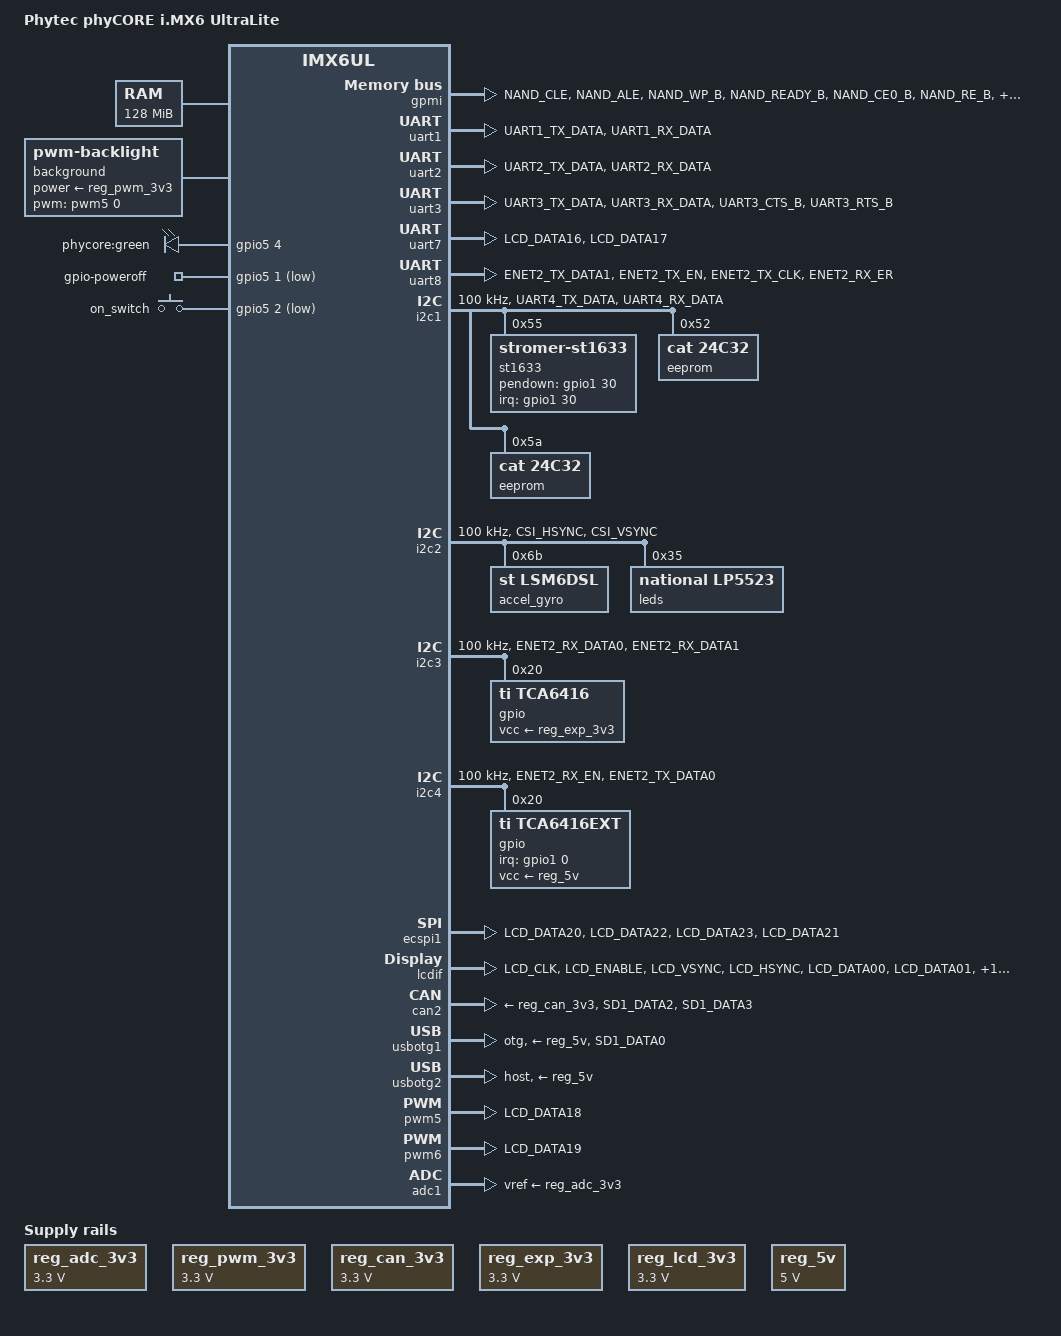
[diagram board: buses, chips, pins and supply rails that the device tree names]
/*
* Copyright (C) 2016 PHYTEC Messtechnik GmbH
* Author: Christian Hemp <c.hemp@phytec.de>
*
* This program is free software; you can redistribute it and/or modify
* it under the terms of the GNU General Public License version 2 as
* published by the Free Software Foundation.
*/

/dts-v1/;
#include "imx6ul.dtsi"

/ {
	model = "Phytec phyCORE i.MX6 UltraLite";
	compatible = "fsl,imx6ul";

	/* Set the minimum memory size here and
	   let the bootloader set the real size */
	memory {
		reg = <0x80000000 0x8000000>;
	};

	regulators {
		compatible = "simple-bus";
		#address-cells = <1>;
		#size-cells = <0>;

		reg_adc_3v3: regulator@1 {
			compatible = "regulator-fixed";
			reg = <1>;
			regulator-name = "adc-3v3";
			regulator-min-microvolt = <3300000>;
			regulator-max-microvolt = <3300000>;
			status = "okay";
		};

		reg_pwm_3v3: regulator@2 {
			compatible = "regulator-fixed";
			reg = <2>;
			regulator-name = "pwm-3v3";
			regulator-min-microvolt = <3300000>;
			regulator-max-microvolt = <3300000>;
			status = "okay";
		};

		reg_can_3v3: regulator@3 {
			compatible = "regulator-fixed";
			reg = <3>;
			regulator-name = "can-3v3";
			regulator-min-microvolt = <3300000>;
			regulator-max-microvolt = <3300000>;
			status = "okay";
		};

		reg_exp_3v3: regulator@4 {
			compatible = "regulator-fixed";
			reg = <4>;
			regulator-name = "exp-3v3";
			regulator-min-microvolt = <3300000>;
			regulator-max-microvolt = <3300000>;
			status = "okay";
		};

		reg_lcd_3v3: regulator@5 {
			compatible = "regulator-fixed";
			reg = <5>;
			regulator-name = "lcd-3v3";
			regulator-min-microvolt = <3300000>;
			regulator-max-microvolt = <3300000>;
			status = "okay";
		};

		reg_5v: regulator@6 {
			compatible = "regulator-fixed";
			reg = <6>;
			regulator-name = "5v";
			regulator-min-microvolt = <5000000>;
			regulator-max-microvolt = <5000000>;
			status = "okay";
		};
	};

	/* LCD background */
	background: background {
		compatible = "pwm-backlight";
		/* PWM period is vriten in nanoseconds
		   10KHz is 100.000 nanoseconds */
		pwms = <&pwm5 0 100000>;
		/* Brightnes is equal to PWM duty cycle */
		brightness-levels = < 0  1  2  3  4  5  6  7  8  9
							 10 11 12 13 14 15 16 17 18 19
							 20 21 22 23 24 25 26 27 28 29
							 30 31 32 33 34 35 36 37 38 39
							 40 41 42 43 44 45 46 47 48 49
							 50 51 52 53 54 55 56 57 58 59
							 60 61 62 63 64 65 66 67 68 69
							 70 71 72 73 74 75 76 77 78 79
							 80 81 82 83 84 85 86 87 88 89
							 90 91 92 93 94 95 96 97 98 99
							 100>;
		default-brightness-level = <100>;
		power-supply = <&reg_pwm_3v3>;
		status = "okay";
	};

	/* Frontbase */
	frontbase: frontbase {
		pwms = <&pwm6 0 5000000>;
		pwm-names = "frontbase";
		status = "okay";
	};

	/* Blinking led */
	gpio_leds_som: somleds {
		pinctrl-names = "default";
		pinctrl-0 = <&pinctrl_gpioleds_som>;
		compatible = "gpio-leds";
		status = "okay";

		som_green {
			label = "phycore:green";
			gpios = <&gpio5 4 GPIO_ACTIVE_HIGH>;
			linux,default-trigger = "heartbeat";
		};
	};

	/* Power lock pin */
	gpio-poweroff {
		compatible = "gpio-poweroff";
		gpios = <&gpio5 1 GPIO_ACTIVE_LOW>;
	};


	/* On Switch (On/Menu) */
	gpio-keys {
		compatible = "gpio-keys";
		pinctrl-names = "default";
		pinctrl-0 = <&pinctrl_gpio_keys>;

		on_switch {
			   label = "on_switch";
			   gpios = <&gpio5 2 GPIO_ACTIVE_LOW>;
			   linux,code = <KEY_BACK>;
			   wakeup-source;
		};
	};
};

/* NAND */
&gpmi {
	pinctrl-names = "default";
	pinctrl-0 = <&pinctrl_gpmi_nand>;
	nand-on-flash-bbt;
	status = "okay";
};

/* Debug port */
&uart1 {
	pinctrl-names = "default";
	pinctrl-0 = <&pinctrl_uart1>;
	status = "okay";
};

/* Button ring */
&uart2 {
	pinctrl-names = "default";
	pinctrl-0 = <&pinctrl_uart2>;
	status = "okay";
};

/* BLE */
&uart3 {
	pinctrl-names = "default";
	pinctrl-0 = <&pinctrl_uart3>;
	fsl,uart-has-rtscts;
	fsl,dte-mode;
	status = "okay";
};

/* GNSS */
&uart7 {
	pinctrl-names = "default";
	pinctrl-0 = <&pinctrl_uart7>;
	status = "okay";
};

/* GSM */
&uart8 {
	compatible = "fsl,imx6ul-mod-uart";
	pinctrl-names = "default", "gpio", "uart";
	pinctrl-0 = <&pinctrl_uart8_default>;
	pinctrl-1 = <&pinctrl_uart8_default>;
	pinctrl-2 = <&pinctrl_uart8_uart>;
	fsl,uart-has-rtscts;
	fsl,dte-mode;
	status = "okay";
};

/* Touch and SOM EEPROM */
&i2c1 {
	pinctrl-names = "default";
	pinctrl-0 = <&pinctrl_i2c1>;
	clock-frequency = <100000>;
	status = "okay";

	/* Touch controller */
	ili2116@41 {
		compatible = "stromer-ili2116";
		reg = <0x41>;
		pinctrl-names = "default";
		pinctrl-0 = <&pinctrl_ili2116>;
		interrupt-parent = <&gpio1>;
		interrupts = <30 IRQ_TYPE_EDGE_FALLING>;
		pendown-gpio = <&gpio1 30 GPIO_ACTIVE_HIGH>;
		wakeup-source;
		status = "disabled";
	};

	/* Touch controller */
	st1633@55 {
		compatible = "stromer-st1633";
		reg = <0x55>;
		pinctrl-names = "default";
		pinctrl-0 = <&pinctrl_st1633>;
		interrupt-parent = <&gpio1>;
		interrupts = <30 IRQ_TYPE_EDGE_FALLING>;
		pendown-gpio = <&gpio1 30 GPIO_ACTIVE_HIGH>;
		wakeup-source;
		status = "okay";
	};

	/* EEPROM memory address */
	eeprom: eeprom@52 {
		compatible = "cat,24c32";
		reg = <0x52>;
	};

	/* EEPROM ID page address */
	eeprom@5a {
		compatible = "cat,24c32";
		reg = <0x5a>;
	};
};

/* Sensors */
&i2c2 {
	pinctrl-names = "default";
	pinctrl-0 = <&pinctrl_i2c2>;
	clock-frequency = <100000>;
	status = "okay";

	/* LSM6DSL 3D accelerometer and 3D gyroscope */
	accel_gyro@6b {
		compatible = "st,lsm6dsl";
		reg = <0x6b>;
	};

	leds@35 {
		compatible = "national,lp5523";
		reg = <0x35>;
		clock-mode = /bits/ 8 <1>;

		chan0 {
			  chan-name = "rgb1_red";
			  led-cur = /bits/ 8 <0x14>;
			  max-cur = /bits/ 8 <0x96>;
		};

		chan1 {
			  chan-name = "rgb1_green";
			  led-cur = /bits/ 8 <0x14>;
			  max-cur = /bits/ 8 <0x64>;
		};

		chan2 {
			  chan-name = "rgb1_blue";
			  led-cur = /bits/ 8 <0x14>;
			  max-cur = /bits/ 8 <0x64>;
		};

		chan3 {
			  chan-name = "rgb2_red";
			  led-cur = /bits/ 8 <0x14>;
			  max-cur = /bits/ 8 <0x96>;
		};

		chan4 {
			  chan-name = "rgb2_green";
			  led-cur = /bits/ 8 <0x14>;
			  max-cur = /bits/ 8 <0x64>;
		};

		chan5 {
			  chan-name = "rgb2_blue";
			  led-cur = /bits/ 8 <0x14>;
			  max-cur = /bits/ 8 <0x64>;
		};
	};
};

/* AN multiplexer ctrl */
&i2c3 {
	pinctrl-names = "default";
	pinctrl-0 =<&pinctrl_i2c3>;
	clock-frequency = <100000>;
	status = "okay";

	/* TCA6416A GPIO Expander */
	gpio@20 {
		compatible = "ti,tca6416";
		vcc-supply = <&reg_exp_3v3>;
		gpio-controller;
		#gpio-cells = <2>;
		reg = <0x20>;
	};
};

/* Distribution board spare */
&i2c4 {
	pinctrl-names = "default";
	pinctrl-0 = <&pinctrl_i2c4>;
	clock-frequency = <100000>;
	status = "okay";

	/* TCA6416A GPIO Expander */
	gpio@20 {
		compatible = "ti,tca6416ext";
		vcc-supply = <&reg_5v>;
		gpio-controller;
		#gpio-cells = <2>;
		reg = <0x20>;
		interrupt-parent = <&gpio1>;
		interrupts = <0 IRQ_TYPE_EDGE_FALLING>;
	};
};

/* SPI - LCD */
&ecspi1 {
	pinctrl-names = "default";
	pinctrl-0 = <&pinctrl_ecspi1>;
	num-cs = <1>;
	cs-gpios = <0>;
	dmas = <&sdma 3 7 1>, <&sdma 4 7 2>;
	dma-names = "rx", "tx";
	status = "okay";
};

&lcdif {
	pinctrl-names = "default";
	pinctrl-0 = <&pinctrl_lcdif_dat>;
	lcd-supply = <&reg_lcd_3v3>;
	display = <&display>;
	status = "okay";

	display: display@di0 {
		bits-per-pixel = <16>;
		bus-width = <16>;
		status = "okay";

		display-timings {
			native-mode = <&timing0>;

			timing0: ST7789OMNI {
				clock-frequency = <8000000>;
				hactive = <240>;
				vactive = <320>;
				hback-porch = <10>;
				hsync-len = <10>;
				hfront-porch = <38>;
				vback-porch = <4>;
				vsync-len = <4>;
				vfront-porch = <8>;
				hsync-active = <0>;
				vsync-active = <0>;
				de-active = <1>;
				pixelclk-active = <1>;
			};
		};
	};
};

/* CAN */
&can2 {
	pinctrl-names = "default";
	pinctrl-0 = <&pinctrl_flexcan2>;
	xceiver-supply = <&reg_can_3v3>;
	status = "okay";
};

/* USB1 */
&usbotg1 {
	pinctrl-names = "default";
	pinctrl-0 = <&pinctrl_usb_otg1_id>;
	/* Only USB OTG ID pin is configured,
	   all other pins are preconfigured for USB */
	dr_mode = "otg";
	vbus-supply = <&reg_5v>;
	status = "okay";
};

/* USB2 */
&usbotg2 {
	dr_mode = "host";
	/* All pins are preconfigured for USB */
	disable-over-current;
	vbus-supply = <&reg_5v>;
	status = "okay";
};

/* Ethernet */
&fec1 {
	pinctrl-names = "default";
	pinctrl-0 = <&pinctrl_enet1>;
	phy-mode = "rmii";
	phy-handle = <&ethphy0>;
	status = "disabled";

	mdio: mdio {
		#address-cells = <1>;
		#size-cells = <0>;

		ethphy0: ethernet-phy@1 {
			reg = <1>;
			interrupt-parent = <&gpio1>;               /* SOM 1468.1 or newer */
			interrupts = <2 IRQ_TYPE_LEVEL_LOW>;       /* SOM 1468.1 or newer */
			/* interrupt-parent = <&gpio5>; */         /* SOM 1468.0 only */
			/* interrupts = <5 IRQ_TYPE_LEVEL_LOW>; */ /* SOM 1468.0 only */
		};
	};
};

/* LCD background */
&pwm5 {
	pinctrl-names = "default";
	pinctrl-0 = <&pinctrl_pwm5>;
	status = "okay";
};

/* Frontbase */
&pwm6 {
	pinctrl-names = "default";
	pinctrl-0 = <&pinctrl_pwm6>;
	status = "okay";
};

/* ADC */
&adc1 {
	pinctrl-names = "default";
	/* Driver utilizes ADC pins from hoggrp automatically */
	vref-supply = <&reg_adc_3v3>;
	num-channels = <16>;
	status = "okay";
};

&iomuxc {
	pinctrl-name = "default";
	pinctrl-0 = <&pinctrl_hog>;

	/* Input, Output and ADC GPIO */
	pinctrl_hog: hoggrp {
		fsl,pins = <
			MX6UL_PAD_GPIO1_IO00__GPIO1_IO00      0x1b0b1 /* Cadence */
			MX6UL_PAD_GPIO1_IO01__GPIO1_IO01      0x1b0b1 /* Horn */
			MX6UL_PAD_GPIO1_IO03__GPIO1_IO03      0x1b0b1 /* Break L */
			MX6UL_PAD_GPIO1_IO04__GPIO1_IO04      0x1b0b1 /* Break R */
			MX6UL_PAD_GPIO1_IO05__GPIO1_IO05      0xb0    /* AN_mux */
			MX6UL_PAD_GPIO1_IO09__GPIO1_IO09      0xb0    /* TMM */
			/* ! Different versions of the SOM caused different pin for CAN_SILENT */
			MX6UL_PAD_SNVS_TAMPER9__GPIO5_IO09    0x79    /* CAN_SILENT - SOM 1468.1 or newer */
			/* MX6UL_PAD_NAND_CE1_B__GPIO4_IO14   0x79 */ /* CAN_SILENT - SOM 1468.0 only */
			MX6UL_PAD_SD1_CLK__GPIO2_IO17         0x79    /* Brake Pull-Up/Pull-Down */
			MX6UL_PAD_SNVS_TAMPER3__GPIO5_IO03    0x79    /* Horn Pull-Up/Pull-Down */
			MX6UL_PAD_CSI_DATA03__GPIO4_IO24      0x79    /* BLE nSHUTD */
			MX6UL_PAD_CSI_DATA04__GPIO4_IO25      0x79    /* GNSS_PPS */
			MX6UL_PAD_CSI_DATA05__GPIO4_IO26      0x79    /* GNSS_FORCE_ON */
			MX6UL_PAD_CSI_DATA07__GPIO4_IO28      0x79    /* GNSS_RESET */
			/* ! Different versions of the SOM caused different pin for GSM_ON_N */
			MX6UL_PAD_SNVS_TAMPER5__GPIO5_IO05    0x79    /* GSM_ON_N - SOM 1468.1 or newer */
			/* MX6UL_PAD_GPIO1_IO02__GPIO1_IO02   0x79 */ /* GSM_ON_N - SOM 1468.0 only */
			MX6UL_PAD_SNVS_TAMPER0__GPIO5_IO00    0x79    /* GSM_RESET */
			MX6UL_PAD_UART1_CTS_B__GPIO1_IO18     0x79    /* MPIO1_DIR */
			MX6UL_PAD_UART1_RTS_B__GPIO1_IO19     0x79    /* MPIO2_DIR */
			MX6UL_PAD_SD1_CMD__GPIO2_IO16         0x1b0b1 /* MPIO1 */
			MX6UL_PAD_NAND_DQS__GPIO4_IO16        0x1b0b1 /* MPIO2 */
			MX6UL_PAD_UART2_RTS_B__GPIO1_IO23     0x79    /* FORCE_OTG1_ID */
			MX6UL_PAD_SD1_DATA1__GPIO2_IO19       0x79    /* I2C4_PU */
			MX6UL_PAD_CSI_PIXCLK__GPIO4_IO18      0x79    /* I2C4_ON */
			MX6UL_PAD_CSI_DATA02__GPIO4_IO23      0x79    /* TMMADC_RESET_N */
		 >;
	};
	/* On Switch (On/Menu) */
	pinctrl_gpio_keys: gpiokeysgrp {
		fsl,pins = <
			MX6UL_PAD_SNVS_TAMPER2__GPIO5_IO02	0x79
		>;
	};

	/* NAND */
	pinctrl_gpmi_nand: gpminandgrp {
		fsl,pins = <
			MX6UL_PAD_NAND_CLE__RAWNAND_CLE			0x0b0b1
			MX6UL_PAD_NAND_ALE__RAWNAND_ALE			0x0b0b1
			MX6UL_PAD_NAND_WP_B__RAWNAND_WP_B		0x0b0b1
			MX6UL_PAD_NAND_READY_B__RAWNAND_READY_B	0x0b000
			MX6UL_PAD_NAND_CE0_B__RAWNAND_CE0_B		0x0b0b1
			MX6UL_PAD_NAND_RE_B__RAWNAND_RE_B		0x0b0b1
			MX6UL_PAD_NAND_WE_B__RAWNAND_WE_B		0x0b0b1
			MX6UL_PAD_NAND_DATA00__RAWNAND_DATA00	0x0b0b1
			MX6UL_PAD_NAND_DATA01__RAWNAND_DATA01	0x0b0b1
			MX6UL_PAD_NAND_DATA02__RAWNAND_DATA02	0x0b0b1
			MX6UL_PAD_NAND_DATA03__RAWNAND_DATA03	0x0b0b1
			MX6UL_PAD_NAND_DATA04__RAWNAND_DATA04	0x0b0b1
			MX6UL_PAD_NAND_DATA05__RAWNAND_DATA05	0x0b0b1
			MX6UL_PAD_NAND_DATA06__RAWNAND_DATA06	0x0b0b1
			MX6UL_PAD_NAND_DATA07__RAWNAND_DATA07	0x0b0b1
		>;
	};

	/* Debug port */
	pinctrl_uart1: uart1grp {
		fsl,pins = <
			MX6UL_PAD_UART1_TX_DATA__UART1_DCE_TX	0x1b0b1
			MX6UL_PAD_UART1_RX_DATA__UART1_DCE_RX	0x1b0b1
		>;
	};

	/* Heart beat led */
	pinctrl_gpioleds_som: gpioledssomgrp {
		fsl,pins = <MX6UL_PAD_SNVS_TAMPER4__GPIO5_IO04	0x0b0b0>;
	};

	/* Button ring */
	pinctrl_uart2: uart2grp {
		fsl,pins = <
			MX6UL_PAD_UART2_TX_DATA__UART2_DCE_TX	0x1b0b1
			MX6UL_PAD_UART2_RX_DATA__UART2_DCE_RX	0x1b0b1
		>;
	};

	/* BLE */
	pinctrl_uart3: uart3grp {
		fsl,pins = <
			MX6UL_PAD_UART3_TX_DATA__UART3_DTE_RX	0x1b0b1
			MX6UL_PAD_UART3_RX_DATA__UART3_DTE_TX	0x1b0b1
			MX6UL_PAD_UART3_CTS_B__UART3_DTE_RTS	0x1b0b1
			MX6UL_PAD_UART3_RTS_B__UART3_DTE_CTS	0x1b0b1
		>;
	};

	/* GNSS */
	pinctrl_uart7: uart7grp {
		fsl,pins = <
			MX6UL_PAD_LCD_DATA16__UART7_DCE_TX	0x1b0b1
			MX6UL_PAD_LCD_DATA17__UART7_DCE_RX	0x1b0b1
		>;
	};

	/* GSM */
	pinctrl_uart8_default: uart8grp {
		fsl,pins = <
			MX6UL_PAD_ENET2_TX_DATA1__GPIO2_IO12	0x13000
			MX6UL_PAD_ENET2_TX_EN__GPIO2_IO13		0x13000
			MX6UL_PAD_ENET2_TX_CLK__GPIO2_IO14		0x13000
			MX6UL_PAD_ENET2_RX_ER__GPIO2_IO15		0x13000
		>;
	};

	pinctrl_uart8_uart: uart8uartgrp {
		fsl,pins = <
			MX6UL_PAD_ENET2_TX_DATA1__UART8_DTE_RX	0x1b0b1
			MX6UL_PAD_ENET2_TX_EN__UART8_DTE_TX		0x1b0b1
			MX6UL_PAD_ENET2_TX_CLK__UART8_DTE_RTS	0x1b0b1
			MX6UL_PAD_ENET2_RX_ER__UART8_DTE_CTS	0x1b0b1
		>;
	};

	/* TLV320 ADC */
	pinctrl_sai2: sai2grp {
		fsl,pins = <
			MX6UL_PAD_JTAG_TDI__SAI2_TX_BCLK	0x17088
			MX6UL_PAD_JTAG_TDO__SAI2_TX_SYNC	0x17088
			MX6UL_PAD_JTAG_TRST_B__SAI2_TX_DATA	0x11088
			MX6UL_PAD_JTAG_TCK__SAI2_RX_DATA	0x11088
			MX6UL_PAD_JTAG_TMS__SAI2_MCLK		0x17088
		>;
	};

	/* Touch and SOM EEPROM */
	pinctrl_ili2116: ili2116grp {
		/* Touch interrupt and reset */
		fsl,pins = <
			MX6UL_PAD_UART5_TX_DATA__GPIO1_IO30	0x10000
		>;
	};

	pinctrl_st1633: st1633grp {
		/* Touch interrupt and reset */
			fsl,pins = <
			MX6UL_PAD_UART5_TX_DATA__GPIO1_IO30	0x10000
		>;
	};

	pinctrl_i2c1: i2c1grp {
		fsl,pins = <
			MX6UL_PAD_UART4_TX_DATA__I2C1_SCL	0x4001b8b0
			MX6UL_PAD_UART4_RX_DATA__I2C1_SDA	0x4001b8b0
		>;
	};

	/* Sensors */
	pinctrl_i2c2: i2c2grp {
		fsl,pins = <
			MX6UL_PAD_CSI_HSYNC__I2C2_SCL	0x4001b8b0
			MX6UL_PAD_CSI_VSYNC__I2C2_SDA	0x4001b8b0
		>;
	};

	/* Distribution board spare */
	pinctrl_i2c3: i2c3grp {
		fsl,pins = <
			MX6UL_PAD_ENET2_RX_DATA0__I2C3_SCL	0x4001b8b0
			MX6UL_PAD_ENET2_RX_DATA1__I2C3_SDA	0x4001b8b0
		>;
	};

	/* AN multiplexer ctrl */
	pinctrl_i2c4: i2c4grp {
		fsl,pins = <
			MX6UL_PAD_ENET2_RX_EN__I2C4_SCL		0x4001b8b0
			MX6UL_PAD_ENET2_TX_DATA0__I2C4_SDA	0x4001b8b0
		>;
	};

	/* SPI - LCD spare */
	pinctrl_ecspi1: ecspi1grp {
		fsl,pins = <
			MX6UL_PAD_LCD_DATA20__ECSPI1_SCLK	0x1b0b1
			MX6UL_PAD_LCD_DATA22__ECSPI1_MOSI	0x1b0b1
			MX6UL_PAD_LCD_DATA23__ECSPI1_MISO	0x1b0b1
			//MX6UL_PAD_LCD_DATA21__GPIO3_IO26    0x000c5 // Due to problems during probe
			MX6UL_PAD_LCD_DATA21__ECSPI1_SS0	0x80000000
		>;
	};

	/* CAN */
	pinctrl_flexcan2: flexcan2grp {
		fsl,pins = <
			MX6UL_PAD_SD1_DATA2__FLEXCAN2_TX	0x0b0b0
			MX6UL_PAD_SD1_DATA3__FLEXCAN2_RX	0x0b0b0
		>;
	};

	/* USB1 */
	pinctrl_usb_otg1_id: usbotg1idgrp {
		fsl,pins = <
			MX6UL_PAD_SD1_DATA0__ANATOP_OTG1_ID	0x17059
		>;
	};

	/* Ethernet */
	pinctrl_enet1: enet1grp {
		fsl,pins = <
			MX6UL_PAD_ENET1_TX_DATA0__ENET1_TDATA00	0x1b0b0
			MX6UL_PAD_ENET1_TX_DATA1__ENET1_TDATA01	0x1b0b0
			MX6UL_PAD_ENET1_TX_EN__ENET1_TX_EN		0x1b0b0
			MX6UL_PAD_ENET1_TX_CLK__ENET1_REF_CLK1	0x4001b031
			MX6UL_PAD_ENET1_RX_DATA0__ENET1_RDATA00	0x1b0b0
			MX6UL_PAD_ENET1_RX_DATA1__ENET1_RDATA01	0x1b0b0
			MX6UL_PAD_ENET1_RX_EN__ENET1_RX_EN		0x1b0b0
			MX6UL_PAD_ENET1_RX_ER__ENET1_RX_ER		0x1b0b0
			MX6UL_PAD_GPIO1_IO06__ENET1_MDIO		0x1b0b0
			MX6UL_PAD_GPIO1_IO07__ENET1_MDC			0x1b0b0
			MX6UL_PAD_GPIO1_IO02__GPIO1_IO02		0x1b0b0    /* SOM 1468.1 or newer: nENET_INT */
			/* MX6UL_PAD_SNVS_TAMPER5__GPIO5_IO05	0x1b0b0 */ /* SOM 1468.0 only: nENET_INT */
		>;
	};

	/* LCD background */
	pinctrl_pwm5: pwm5grp {
		fsl,pins = <
			MX6UL_PAD_LCD_DATA18__PWM5_OUT	0x1b0b0
		>;
	};

	/* Frontbase */
	pinctrl_pwm6: pwm6grp {
		fsl,pins = <
			MX6UL_PAD_LCD_DATA19__PWM6_OUT	0x1b0b0
		>;
	};

	/* LCD */
	pinctrl_lcdif_dat: lcdifdatgrp {
		fsl,pins = <
			MX6UL_PAD_LCD_CLK__LCDIF_CLK		0x48
			MX6UL_PAD_LCD_ENABLE__LCDIF_ENABLE	0x48
			/* MX6UL_PAD_LCD_RESET__LCDIF_RESET	0x48 */
			MX6UL_PAD_LCD_VSYNC__LCDIF_VSYNC	0x48
			MX6UL_PAD_LCD_HSYNC__LCDIF_HSYNC	0x48
			MX6UL_PAD_LCD_DATA00__LCDIF_DATA00	0x48
			MX6UL_PAD_LCD_DATA01__LCDIF_DATA01	0x48
			MX6UL_PAD_LCD_DATA02__LCDIF_DATA02	0x48
			MX6UL_PAD_LCD_DATA03__LCDIF_DATA03	0x48
			MX6UL_PAD_LCD_DATA04__LCDIF_DATA04	0x48
			MX6UL_PAD_LCD_DATA05__LCDIF_DATA05	0x48
			MX6UL_PAD_LCD_DATA06__LCDIF_DATA06	0x48
			MX6UL_PAD_LCD_DATA07__LCDIF_DATA07	0x48
			MX6UL_PAD_LCD_DATA08__LCDIF_DATA08	0x48
			MX6UL_PAD_LCD_DATA09__LCDIF_DATA09	0x48
			MX6UL_PAD_LCD_DATA10__LCDIF_DATA10	0x48
			MX6UL_PAD_LCD_DATA11__LCDIF_DATA11	0x48
			MX6UL_PAD_LCD_DATA12__LCDIF_DATA12	0x48
			MX6UL_PAD_LCD_DATA13__LCDIF_DATA13	0x48
			MX6UL_PAD_LCD_DATA14__LCDIF_DATA14	0x48
			MX6UL_PAD_LCD_DATA15__LCDIF_DATA15	0x48
		>;
	};
};
